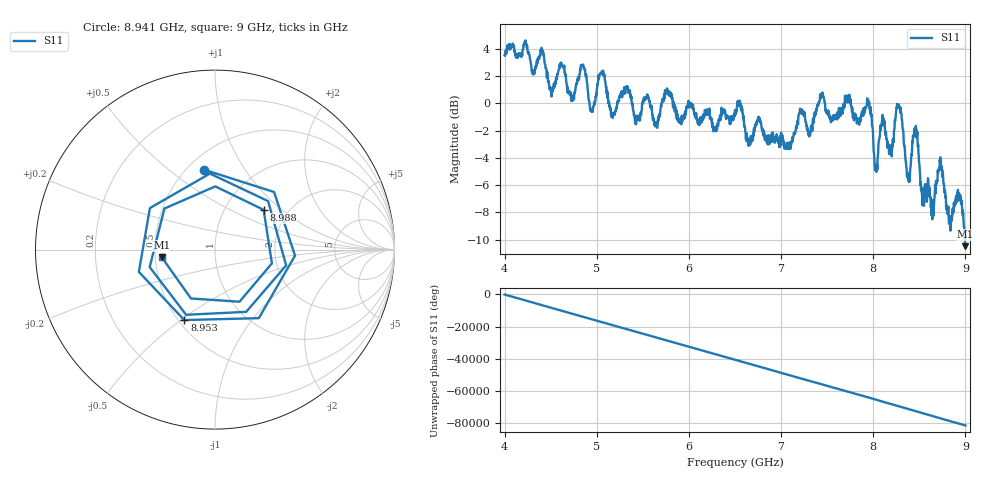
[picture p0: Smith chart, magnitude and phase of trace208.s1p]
! Created with skrf 1.8.0 (http://scikit-rf.org).
# Hz S RI R 50.0
!freq ReS11 ImS11
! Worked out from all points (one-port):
!   1601 points, 4 GHz to 9 GHz, reference 50 ohm
!   lowest |S11| = -10.5 dB at 9 GHz (marker M1), VSWR 1.85, Z = 27.1 - j2.58 ohm
!   |S11| at or under -10 dB: 8.994775 GHz to end of sweep
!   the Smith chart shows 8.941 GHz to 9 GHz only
!   S11 on the Smith chart (normalised r, x): 8.941 GHz: 0.61, +0.67; 8.953 GHz: 0.54, -0.51; 8.988 GHz: 1.51, +0.76; 9 GHz: 0.54, -0.05
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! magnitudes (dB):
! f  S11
! 4 GHz  3.5
! 4.403 GHz  3.9
! 4.506 GHz  0.8
! 4.625 GHz  2.7
! 4.734 GHz  0.2
! 4.85 GHz  2.8
! 4.944 GHz  -0.6
! 5.05 GHz  2.2
! 5.169 GHz  -0.8
! 5.25 GHz  0.5
! 5.875 GHz  -0.8
! 6.5 GHz  -0.5
! 7.125 GHz  -2.8
! 7.441 GHz  0.7
! 7.75 GHz  0.1
! 7.956 GHz  0.1
! 8.028 GHz  -4.7
! 8.278 GHz  -0.3
! 8.375 GHz  -5.5
! 8.456 GHz  -1.8
! 8.544 GHz  -7.1
! 8.644 GHz  -7.8
! 8.725 GHz  -4.3
! 8.828 GHz  -8.3
! 8.941 GHz  -7.0
! 8.953 GHz  -7.4
! 8.988 GHz  -9.1
! 9 GHz  -10.5
